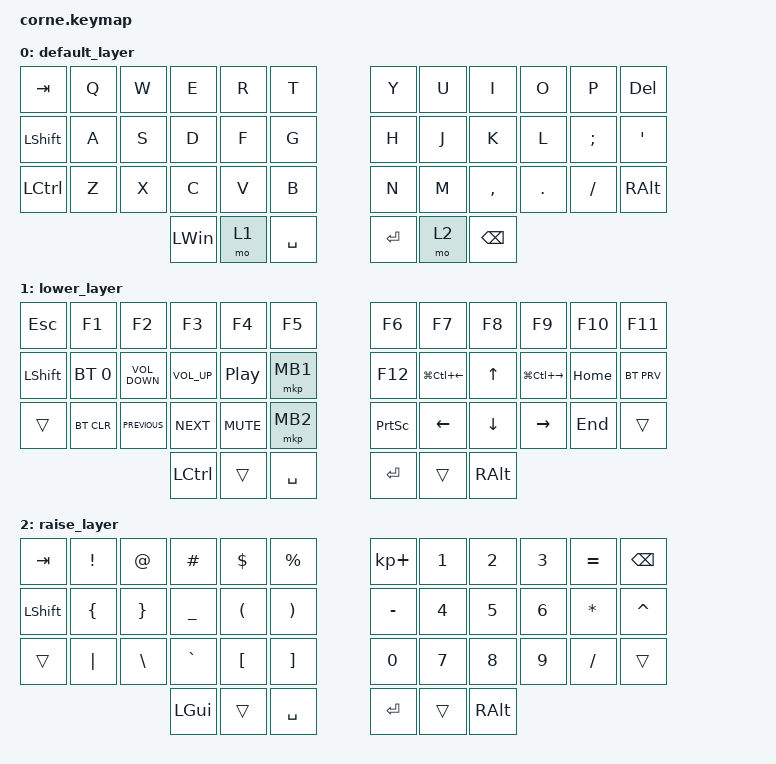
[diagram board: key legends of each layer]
/*
 * Copyright (c) 2020 The ZMK Contributors
 *
 * SPDX-License-Identifier: MIT
 */

#include <behaviors.dtsi>
#include <dt-bindings/zmk/bt.h>
#include <dt-bindings/zmk/keys.h>
#include <dt-bindings/zmk/mouse.h>

/ {
    combos { compatible = "zmk,combos"; };

    keymap {
        compatible = "zmk,keymap";

        default_layer {
            // -----------------------------------------------------------------------------------------
            // |  TAB |  Q  |  W  |  E  |  R  |  T  |   |  Y  |  U   |  I  |  O  |  P  | BKSP |
            // | CTRL |  A  |  S  |  D  |  F  |  G  |   |  H  |  J   |  K  |  L  |  ;  |  '   |
            // | SHFT |  Z  |  X  |  C  |  V  |  B  |   |  N  |  M   |  ,  |  .  |  /  | ESC  |
            //                    | GUI | LWR | SPC |   | ENT | RSE  | ALT |

            bindings = <
&kp TAB           &kp Q  &kp W  &kp E         &kp R  &kp T        &kp Y    &kp U  &kp I          &kp O    &kp P     &kp DELETE
&kp LEFT_SHIFT    &kp A  &kp S  &kp D         &kp F  &kp G        &kp H    &kp J  &kp K          &kp L    &kp SEMI  &kp SINGLE_QUOTE
&kp LEFT_CONTROL  &kp Z  &kp X  &kp C         &kp V  &kp B        &kp N    &kp M  &kp COMMA      &kp DOT  &kp FSLH  &kp RIGHT_ALT
                                &kp LEFT_WIN  &mo 1  &kp SPACE    &kp RET  &mo 2  &kp BACKSPACE
            >;
        };

        lower_layer {
            // -----------------------------------------------------------------------------------------
            // |  TAB |  1  |  2  |  3  |  4  |  5  |   |  6  |  7  |  8  |  9  |  0  | BKSP |
            // | BTCLR| BT1 | BT2 | BT3 | BT4 | BT5 |   | LFT | DWN |  UP | RGT |     |      |
            // | SHFT |     |     |     |     |     |   |     |     |     |     |     |      |
            //                    | GUI |     | SPC |   | ENT |     | ALT |

            bindings = <
&kp ESCAPE      &kp F1        &kp F2             &kp F3           &kp F4            &kp F5       &kp F6           &kp F7            &kp F8          &kp F9             &kp F10   &kp F11
&kp LEFT_SHIFT  &bt BT_SEL 0  &kp C_VOLUME_DOWN  &kp C_VOLUME_UP  &kp C_PLAY_PAUSE  &mkp MB1     &kp F12          &kp LG(LC(LEFT))  &kp UP_ARROW    &kp LG(LC(RIGHT))  &kp HOME  &bt BT_PRV
&trans          &bt BT_CLR    &kp C_PREVIOUS     &kp C_NEXT       &kp C_MUTE        &mkp MB2     &kp PRINTSCREEN  &kp LEFT          &kp DOWN_ARROW  &kp RIGHT          &kp END   &trans
                                                 &kp LCTRL        &trans            &kp SPACE    &kp RET          &trans            &kp RALT
            >;
        };

        raise_layer {
            // -----------------------------------------------------------------------------------------
            // |  TAB |  !  |  @  |  #  |  $  |  %  |   |  ^  |  &  |  *  |  (  |  )  | BKSP |
            // | CTRL |     |     |     |     |     |   |  -  |  =  |  [  |  ]  |  \  |  `   |
            // | SHFT |     |     |     |     |     |   |  _  |  +  |  {  |  }  | "|" |  ~   |
            //                    | GUI |     | SPC |   | ENT |     | ALT |

            bindings = <
&kp TAB         &kp EXCL        &kp AT           &kp HASH        &kp DLLR              &kp PRCNT                &kp KP_PLUS   &kp NUMBER_1  &kp NUMBER_2  &kp NUMBER_3  &kp EQUAL     &kp BSPC
&kp LEFT_SHIFT  &kp LEFT_BRACE  &kp RIGHT_BRACE  &kp UNDERSCORE  &kp LEFT_PARENTHESIS  &kp RIGHT_PARENTHESIS    &kp MINUS     &kp NUMBER_4  &kp N5        &kp NUMBER_6  &kp ASTERISK  &kp CARET
&trans          &kp PIPE        &kp BACKSLASH    &kp GRAVE       &kp LEFT_BRACKET      &kp RIGHT_BRACKET        &kp NUMBER_0  &kp NUMBER_7  &kp NUMBER_8  &kp NUMBER_9  &kp SLASH     &trans
                                                 &kp LGUI        &trans                &kp SPACE                &kp RET       &trans        &kp RALT
            >;
        };
    };
};
